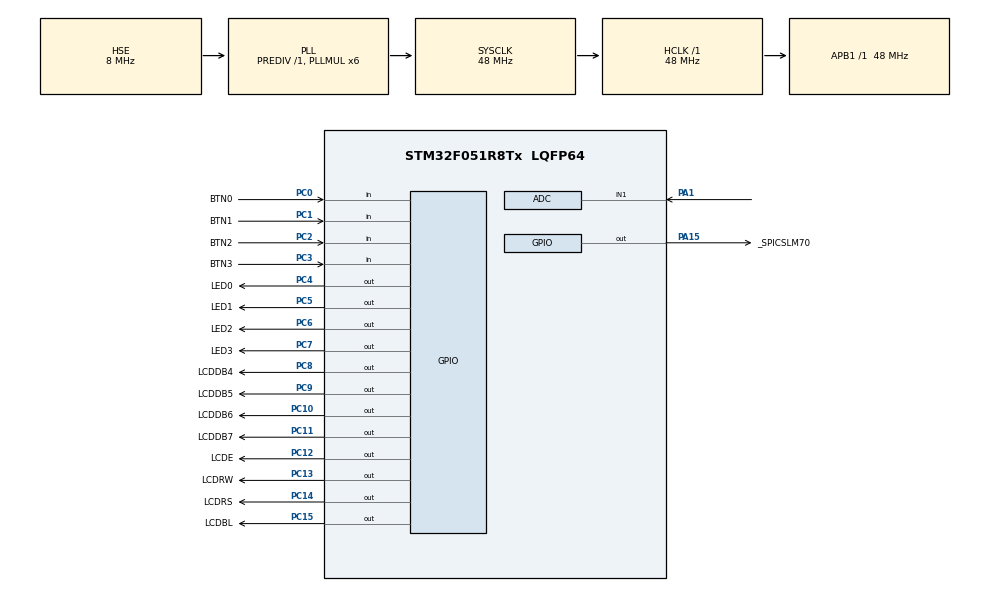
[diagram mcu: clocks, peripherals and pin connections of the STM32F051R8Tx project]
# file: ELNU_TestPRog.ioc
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Mcu.Family=STM32F0
Mcu.Name=STM32F051R8Tx
Mcu.Package=LQFP64
NVIC.TIM14_IRQn=true\:0\:0\:false\:false\:true\:true\:true
NVIC.TIM6_DAC_IRQn=true\:0\:0\:false\:false\:true\:true\:true
PA1.Mode=IN1
PA1.Signal=ADC_IN1
PA13.Mode=Serial_Wire
PA13.Signal=SYS_SWDIO
PA14.Mode=Serial_Wire
PA14.Signal=SYS_SWCLK
PA15.GPIO_Label=_SPICSLM70
PA15.PinState=GPIO_PIN_SET
PA15.Signal=GPIO_Output
PA5.GPIO_Label=SPISCK
PA5.Signal=SPI1_SCK
PA6.GPIO_Label=SPIMISO
PA6.Signal=SPI1_MISO
PB1.Signal=S_TIM14_CH1
PC0.GPIO_Label=BTN0
PC0.Signal=GPIO_Input
PC1.GPIO_Label=BTN1
PC1.Signal=GPIO_Input
PC10.GPIO_Label=LCDDB6
PC10.Signal=GPIO_Output
PC11.GPIO_Label=LCDDB7
PC11.Signal=GPIO_Output
PC12.GPIO_Label=LCDE
PC12.Signal=GPIO_Output
PC13.GPIO_Label=LCDRW
PC13.Signal=GPIO_Output
PC14-OSC32_IN.GPIO_Label=LCDRS
PC14-OSC32_IN.Signal=GPIO_Output
PC15-OSC32_OUT.GPIO_Label=LCDBL
PC15-OSC32_OUT.Signal=GPIO_Output
PC2.GPIO_Label=BTN2
PC2.Signal=GPIO_Input
PC3.GPIO_Label=BTN3
PC3.Signal=GPIO_Input
PC4.GPIO_Label=LED0
PC4.PinState=GPIO_PIN_SET
PC4.Signal=GPIO_Output
PC5.GPIO_Label=LED1
PC5.PinState=GPIO_PIN_SET
PC5.Signal=GPIO_Output
PC6.GPIO_Label=LED2
PC6.PinState=GPIO_PIN_SET
PC6.Signal=GPIO_Output
PC7.GPIO_Label=LED3
PC7.PinState=GPIO_PIN_SET
PC7.Signal=GPIO_Output
PC8.GPIO_Label=LCDDB4
PC8.Signal=GPIO_Output
PC9.GPIO_Label=LCDDB5
PC9.Signal=GPIO_Output
PF0-OSC_IN.GPIO_Label=OSCIN
PF0-OSC_IN.Mode=HSE-External-Oscillator
PF0-OSC_IN.Signal=RCC_OSC_IN
PF1-OSC_OUT.GPIO_Label=OSCOUT
PF1-OSC_OUT.Mode=HSE-External-Oscillator
PF1-OSC_OUT.Signal=RCC_OSC_OUT
PF6.Signal=I2C2_SCL
PF7.Signal=I2C2_SDA
ProjectManager.HeapSize=0x200
ProjectManager.StackSize=0x400
ProjectManager.TargetToolchain=MDK-ARM V5
RCC.AHBFreq_Value=48000000
RCC.APB1Freq_Value=48000000
RCC.APB1TimFreq_Value=48000000
RCC.EnbaleCSS=true
RCC.HCLKFreq_Value=48000000
RCC.PLLMUL=RCC_PLL_MUL6
RCC.PLLSourceVirtual=RCC_PLLSOURCE_HSE
RCC.SYSCLKFreq_VALUE=48000000
RCC.SYSCLKSource=RCC_SYSCLKSOURCE_PLLCLK
SH.S_TIM14_CH1.0=TIM14_CH1
TIM14.AutoReloadPreload=TIM_AUTORELOAD_PRELOAD_ENABLE
TIM14.Period=999
TIM14.Prescaler=47
TIM6.AutoReloadPreload=TIM_AUTORELOAD_PRELOAD_ENABLE
TIM6.Period=200
TIM6.Prescaler=48000
VP_TIM14_VS_ClockSourceINT.Mode=Enable_Timer
VP_TIM6_VS_ClockSourceINT.Mode=Enable_Timer
board=test01_blink

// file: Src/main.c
/* USER CODE BEGIN Header */
/**
  ******************************************************************************
  * @file           : main.c
  * @brief          : Main program body
  ******************************************************************************
  * @attention
  *
  * <h2><center>&copy; Copyright (c) 2021 STMicroelectronics.
  * All rights reserved.</center></h2>
  *
  * This software component is licensed by ST under BSD 3-Clause license,
  * the "License"; You may not use this file except in compliance with the
  * License. You may obtain a copy of the License at:
  *                        opensource.org/licenses/BSD-3-Clause
  *
  ******************************************************************************
  */
/* USER CODE END Header */
#include "main.h"
#include "adc.h"
#include "tim.h"
#include "gpio.h"

/* USER CODE BEGIN Includes */
#include <stdint.h>

#include "fonctionsTestELNU.h"
#include "stm32DriverLcd.h"
#include "stm32f0xx_it.h"
/* USER CODE END Includes */

/* USER CODE BEGIN PD */

#define STATE_INIT 0
#define STATE_WAIT 1
#define STATE_EXEC 2

/* USER CODE END PD */

/* USER CODE BEGIN PV */

int state = STATE_INIT;
int finChen = 0;
int valeurADC = 0;
int canalADC;

/* USER CODE END PV */

void SystemClock_Config(void);

int main(void)
{
  /* USER CODE BEGIN 1 */
	//-- déclaration de variable --//

  /* USER CODE END 1 */

  /* MCU Configuration--------------------------------------------------------*/

  /* Reset of all peripherals, Initializes the Flash interface and the Systick. */
  HAL_Init();

  /* Configure the system clock */
  SystemClock_Config();

  /* Initialize all configured peripherals */
  MX_GPIO_Init();
  MX_TIM6_Init();
  MX_TIM14_Init();
  MX_ADC_Init();
  /* USER CODE BEGIN 2 */
	//-- initialisation LCD avec message utilisateur --//
	lcd_init();
	lcd_bl_on();
  lcd_gotoxy(1,1);
	printf_lcd("TEST ELNU 23");
	lcd_gotoxy(1,2);
	printf_lcd("SOLUS XXX");

	//-- activation du timer 6 avec interruption --//

	HAL_TIM_Base_Start_IT(&htim6);

	//-- calibration pour l'ADC --//

	HAL_ADCEx_Calibration_Start(&hadc);

  /* USER CODE END 2 */

  /* Infinite loop */
  /* USER CODE BEGIN WHILE */
  while (1)
  {
		//-- Machine d'état --//

			switch(state)
			{
			//-- Initialisation --//
				case STATE_INIT:
				//-- appel fonction chenillard --//

				do
				{

					FctChenillard(LedsState);

					if(LedsState < 3)
					{
						LedsState++;
					}

					else
					{
						LedsState =0;
						finChen = 1;
					}
					}while(finChen == 0);

				//-- allumer les leds pendant 5s --//

				do
				{
					FctAllumerLeds();
				}while(cinqSec == 0);

				cinqSec = 0;

				//-- eteindre les leds --//

				do
				{
					FctEteindreLeds();
				}while(cinqSec == 0);

				cinqSec = 0;

				//-- lancement du timer14 avec interruption --//

				HAL_TIM_Base_Start_IT(&htim14);

				//-- mise à jour de la machine d'état --//

				state = STATE_WAIT;

				break;

			//-- Execution --//
				case STATE_WAIT:
				//-- lecture de l'ADC => canal 1 --//

				valeurADC = FctLectureADC(canalADC);

				//-- controle des seuils --//

				//-- test si touches sont activée actif à 1 (actif toutes les 100ms)--//

				//-- action selon l'état des touches --//

					//-- appel de la fonction CreationDentScieGauche --//

					//-- appel de la fonction CreationDentSciedroite --//

					//-- appel de la fonction CreationTriangle --//

					//-- mise à du tableau à zéro --//

				break;
			//-- Attente --//
				case STATE_EXEC:
					//-- ne fait rien
				FctControlSeuilTension(valeurADC);

				break;
			}
	}
    /* USER CODE END WHILE */

}

void SystemClock_Config(void)
{
  RCC_OscInitTypeDef RCC_OscInitStruct = {0};
  RCC_ClkInitTypeDef RCC_ClkInitStruct = {0};

  /** Initializes the RCC Oscillators according to the specified parameters
  * in the RCC_OscInitTypeDef structure.
  */
  RCC_OscInitStruct.OscillatorType = RCC_OSCILLATORTYPE_HSI14|RCC_OSCILLATORTYPE_HSE;
  RCC_OscInitStruct.HSEState = RCC_HSE_ON;
  RCC_OscInitStruct.HSI14State = RCC_HSI14_ON;
  RCC_OscInitStruct.HSI14CalibrationValue = 16;
  RCC_OscInitStruct.PLL.PLLState = RCC_PLL_ON;
  RCC_OscInitStruct.PLL.PLLSource = RCC_PLLSOURCE_HSE;
  RCC_OscInitStruct.PLL.PLLMUL = RCC_PLL_MUL6;
  RCC_OscInitStruct.PLL.PREDIV = RCC_PREDIV_DIV1;
  if (HAL_RCC_OscConfig(&RCC_OscInitStruct) != HAL_OK)
  {
    Error_Handler();
  }
  /** Initializes the CPU, AHB and APB buses clocks
  */
  RCC_ClkInitStruct.ClockType = RCC_CLOCKTYPE_HCLK|RCC_CLOCKTYPE_SYSCLK
                              |RCC_CLOCKTYPE_PCLK1;
  RCC_ClkInitStruct.SYSCLKSource = RCC_SYSCLKSOURCE_PLLCLK;
  RCC_ClkInitStruct.AHBCLKDivider = RCC_SYSCLK_DIV1;
  RCC_ClkInitStruct.APB1CLKDivider = RCC_HCLK_DIV1;

  if (HAL_RCC_ClockConfig(&RCC_ClkInitStruct, FLASH_LATENCY_1) != HAL_OK)
  {
    Error_Handler();
  }
  /** Enables the Clock Security System
  */
  HAL_RCC_EnableCSS();
}

void Error_Handler(void)
{
  __disable_irq();
  while (1)
  {
  }
}

/************************ (C) COPYRIGHT STMicroelectronics *****END OF FILE****/
